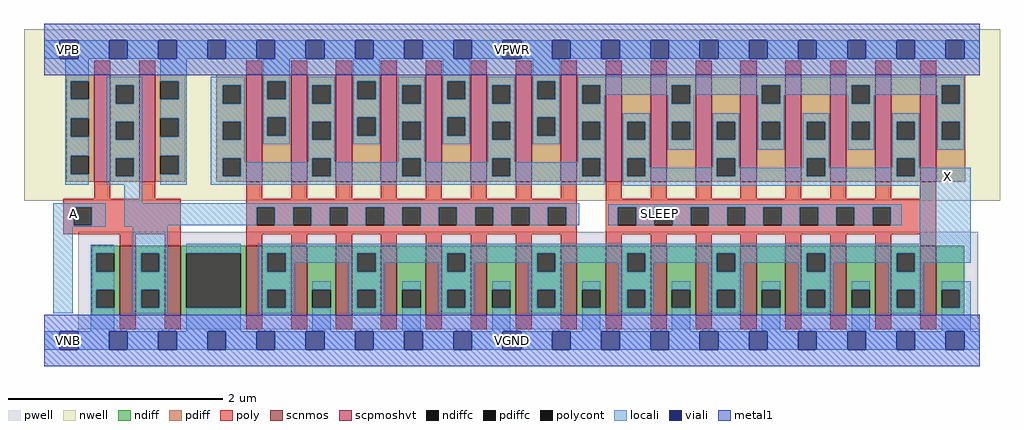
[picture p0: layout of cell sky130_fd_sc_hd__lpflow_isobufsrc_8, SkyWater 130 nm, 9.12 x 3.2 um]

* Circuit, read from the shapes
.subckt sky130_fd_sc_hd__lpflow_isobufsrc_8 A SLEEP VGND VNB VPB VPWR X
XM1 n1 A VGND VNB sky130_fd_pr__nfet_01v8 w=0.65 l=0.15 m=2
XM2 X n1 VGND VNB sky130_fd_pr__nfet_01v8 w=0.65 l=0.15 m=8
XM3 X SLEEP VGND VNB sky130_fd_pr__nfet_01v8 w=0.65 l=0.15 m=8
XM4 n1 A VPWR VPB sky130_fd_pr__pfet_01v8_hvt w=1 l=0.15 m=2
XM5 VPWR n1 n2 VPB sky130_fd_pr__pfet_01v8_hvt w=1 l=0.15 m=8
XM6 X SLEEP n2 VPB sky130_fd_pr__pfet_01v8_hvt w=1 l=0.15 m=8
.ends

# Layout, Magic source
magic
tech sky130B
magscale 1 2
<< nwell >>
rect -38 261 1786 582
<< pwell >>
rect 63 21 1745 203
rect 29 -17 63 17
<< scnmos >>
rect 141 47 171 177
rect 225 47 255 177
rect 377 47 407 177
rect 461 47 491 177
rect 545 47 575 177
rect 629 47 659 177
rect 713 47 743 177
rect 797 47 827 177
rect 881 47 911 177
rect 965 47 995 177
rect 1049 47 1079 177
rect 1133 47 1163 177
rect 1217 47 1247 177
rect 1301 47 1331 177
rect 1385 47 1415 177
rect 1469 47 1499 177
rect 1553 47 1583 177
rect 1637 47 1667 177
<< scpmoshvt >>
rect 93 297 123 497
rect 177 297 207 497
rect 377 297 407 497
rect 461 297 491 497
rect 545 297 575 497
rect 629 297 659 497
rect 713 297 743 497
rect 797 297 827 497
rect 881 297 911 497
rect 965 297 995 497
rect 1049 297 1079 497
rect 1133 297 1163 497
rect 1217 297 1247 497
rect 1301 297 1331 497
rect 1385 297 1415 497
rect 1469 297 1499 497
rect 1553 297 1583 497
rect 1637 297 1667 497
<< ndiff >>
rect 89 163 141 177
rect 89 129 97 163
rect 131 129 141 163
rect 89 95 141 129
rect 89 61 97 95
rect 131 61 141 95
rect 89 47 141 61
rect 171 163 225 177
rect 171 129 181 163
rect 215 129 225 163
rect 171 95 225 129
rect 171 61 181 95
rect 215 61 225 95
rect 171 47 225 61
rect 255 163 377 177
rect 255 61 265 163
rect 367 61 377 163
rect 255 47 377 61
rect 407 163 461 177
rect 407 129 417 163
rect 451 129 461 163
rect 407 95 461 129
rect 407 61 417 95
rect 451 61 461 95
rect 407 47 461 61
rect 491 95 545 177
rect 491 61 501 95
rect 535 61 545 95
rect 491 47 545 61
rect 575 163 629 177
rect 575 129 585 163
rect 619 129 629 163
rect 575 95 629 129
rect 575 61 585 95
rect 619 61 629 95
rect 575 47 629 61
rect 659 95 713 177
rect 659 61 669 95
rect 703 61 713 95
rect 659 47 713 61
rect 743 163 797 177
rect 743 129 753 163
rect 787 129 797 163
rect 743 95 797 129
rect 743 61 753 95
rect 787 61 797 95
rect 743 47 797 61
rect 827 95 881 177
rect 827 61 837 95
rect 871 61 881 95
rect 827 47 881 61
rect 911 163 965 177
rect 911 129 921 163
rect 955 129 965 163
rect 911 95 965 129
rect 911 61 921 95
rect 955 61 965 95
rect 911 47 965 61
rect 995 95 1049 177
rect 995 61 1005 95
rect 1039 61 1049 95
rect 995 47 1049 61
rect 1079 163 1133 177
rect 1079 129 1089 163
rect 1123 129 1133 163
rect 1079 95 1133 129
rect 1079 61 1089 95
rect 1123 61 1133 95
rect 1079 47 1133 61
rect 1163 95 1217 177
rect 1163 61 1173 95
rect 1207 61 1217 95
rect 1163 47 1217 61
rect 1247 163 1301 177
rect 1247 129 1257 163
rect 1291 129 1301 163
rect 1247 95 1301 129
rect 1247 61 1257 95
rect 1291 61 1301 95
rect 1247 47 1301 61
rect 1331 95 1385 177
rect 1331 61 1341 95
rect 1375 61 1385 95
rect 1331 47 1385 61
rect 1415 163 1469 177
rect 1415 129 1425 163
rect 1459 129 1469 163
rect 1415 95 1469 129
rect 1415 61 1425 95
rect 1459 61 1469 95
rect 1415 47 1469 61
rect 1499 95 1553 177
rect 1499 61 1509 95
rect 1543 61 1553 95
rect 1499 47 1553 61
rect 1583 163 1637 177
rect 1583 129 1593 163
rect 1627 129 1637 163
rect 1583 95 1637 129
rect 1583 61 1593 95
rect 1627 61 1637 95
rect 1583 47 1637 61
rect 1667 95 1719 177
rect 1667 61 1677 95
rect 1711 61 1719 95
rect 1667 47 1719 61
<< pdiff >>
rect 41 485 93 497
rect 41 451 49 485
rect 83 451 93 485
rect 41 415 93 451
rect 41 381 49 415
rect 83 381 93 415
rect 41 345 93 381
rect 41 311 49 345
rect 83 311 93 345
rect 41 297 93 311
rect 123 477 177 497
rect 123 443 133 477
rect 167 443 177 477
rect 123 409 177 443
rect 123 375 133 409
rect 167 375 177 409
rect 123 341 177 375
rect 123 307 133 341
rect 167 307 177 341
rect 123 297 177 307
rect 207 485 263 497
rect 207 451 217 485
rect 251 451 263 485
rect 207 415 263 451
rect 207 381 217 415
rect 251 381 263 415
rect 207 345 263 381
rect 207 311 217 345
rect 251 311 263 345
rect 207 297 263 311
rect 321 477 377 497
rect 321 443 333 477
rect 367 443 377 477
rect 321 409 377 443
rect 321 375 333 409
rect 367 375 377 409
rect 321 341 377 375
rect 321 307 333 341
rect 367 307 377 341
rect 321 297 377 307
rect 407 485 461 497
rect 407 451 417 485
rect 451 451 461 485
rect 407 417 461 451
rect 407 383 417 417
rect 451 383 461 417
rect 407 297 461 383
rect 491 477 545 497
rect 491 443 501 477
rect 535 443 545 477
rect 491 409 545 443
rect 491 375 501 409
rect 535 375 545 409
rect 491 341 545 375
rect 491 307 501 341
rect 535 307 545 341
rect 491 297 545 307
rect 575 485 629 497
rect 575 451 585 485
rect 619 451 629 485
rect 575 417 629 451
rect 575 383 585 417
rect 619 383 629 417
rect 575 297 629 383
rect 659 477 713 497
rect 659 443 669 477
rect 703 443 713 477
rect 659 409 713 443
rect 659 375 669 409
rect 703 375 713 409
rect 659 341 713 375
rect 659 307 669 341
rect 703 307 713 341
rect 659 297 713 307
rect 743 485 797 497
rect 743 451 753 485
rect 787 451 797 485
rect 743 417 797 451
rect 743 383 753 417
rect 787 383 797 417
rect 743 297 797 383
rect 827 477 881 497
rect 827 443 837 477
rect 871 443 881 477
rect 827 409 881 443
rect 827 375 837 409
rect 871 375 881 409
rect 827 341 881 375
rect 827 307 837 341
rect 871 307 881 341
rect 827 297 881 307
rect 911 485 965 497
rect 911 451 921 485
rect 955 451 965 485
rect 911 417 965 451
rect 911 383 921 417
rect 955 383 965 417
rect 911 297 965 383
rect 995 477 1049 497
rect 995 443 1005 477
rect 1039 443 1049 477
rect 995 409 1049 443
rect 995 375 1005 409
rect 1039 375 1049 409
rect 995 341 1049 375
rect 995 307 1005 341
rect 1039 307 1049 341
rect 995 297 1049 307
rect 1079 409 1133 497
rect 1079 375 1089 409
rect 1123 375 1133 409
rect 1079 341 1133 375
rect 1079 307 1089 341
rect 1123 307 1133 341
rect 1079 297 1133 307
rect 1163 477 1217 497
rect 1163 443 1173 477
rect 1207 443 1217 477
rect 1163 409 1217 443
rect 1163 375 1173 409
rect 1207 375 1217 409
rect 1163 297 1217 375
rect 1247 409 1301 497
rect 1247 375 1257 409
rect 1291 375 1301 409
rect 1247 341 1301 375
rect 1247 307 1257 341
rect 1291 307 1301 341
rect 1247 297 1301 307
rect 1331 477 1385 497
rect 1331 443 1341 477
rect 1375 443 1385 477
rect 1331 409 1385 443
rect 1331 375 1341 409
rect 1375 375 1385 409
rect 1331 297 1385 375
rect 1415 409 1469 497
rect 1415 375 1425 409
rect 1459 375 1469 409
rect 1415 341 1469 375
rect 1415 307 1425 341
rect 1459 307 1469 341
rect 1415 297 1469 307
rect 1499 477 1553 497
rect 1499 443 1509 477
rect 1543 443 1553 477
rect 1499 409 1553 443
rect 1499 375 1509 409
rect 1543 375 1553 409
rect 1499 297 1553 375
rect 1583 409 1637 497
rect 1583 375 1593 409
rect 1627 375 1637 409
rect 1583 341 1637 375
rect 1583 307 1593 341
rect 1627 307 1637 341
rect 1583 297 1637 307
rect 1667 477 1721 497
rect 1667 443 1677 477
rect 1711 443 1721 477
rect 1667 409 1721 443
rect 1667 375 1677 409
rect 1711 375 1721 409
rect 1667 297 1721 375
<< ndiffc >>
rect 97 129 131 163
rect 97 61 131 95
rect 181 129 215 163
rect 181 61 215 95
rect 265 61 367 163
rect 417 129 451 163
rect 417 61 451 95
rect 501 61 535 95
rect 585 129 619 163
rect 585 61 619 95
rect 669 61 703 95
rect 753 129 787 163
rect 753 61 787 95
rect 837 61 871 95
rect 921 129 955 163
rect 921 61 955 95
rect 1005 61 1039 95
rect 1089 129 1123 163
rect 1089 61 1123 95
rect 1173 61 1207 95
rect 1257 129 1291 163
rect 1257 61 1291 95
rect 1341 61 1375 95
rect 1425 129 1459 163
rect 1425 61 1459 95
rect 1509 61 1543 95
rect 1593 129 1627 163
rect 1593 61 1627 95
rect 1677 61 1711 95
<< pdiffc >>
rect 49 451 83 485
rect 49 381 83 415
rect 49 311 83 345
rect 133 443 167 477
rect 133 375 167 409
rect 133 307 167 341
rect 217 451 251 485
rect 217 381 251 415
rect 217 311 251 345
rect 333 443 367 477
rect 333 375 367 409
rect 333 307 367 341
rect 417 451 451 485
rect 417 383 451 417
rect 501 443 535 477
rect 501 375 535 409
rect 501 307 535 341
rect 585 451 619 485
rect 585 383 619 417
rect 669 443 703 477
rect 669 375 703 409
rect 669 307 703 341
rect 753 451 787 485
rect 753 383 787 417
rect 837 443 871 477
rect 837 375 871 409
rect 837 307 871 341
rect 921 451 955 485
rect 921 383 955 417
rect 1005 443 1039 477
rect 1005 375 1039 409
rect 1005 307 1039 341
rect 1089 375 1123 409
rect 1089 307 1123 341
rect 1173 443 1207 477
rect 1173 375 1207 409
rect 1257 375 1291 409
rect 1257 307 1291 341
rect 1341 443 1375 477
rect 1341 375 1375 409
rect 1425 375 1459 409
rect 1425 307 1459 341
rect 1509 443 1543 477
rect 1509 375 1543 409
rect 1593 375 1627 409
rect 1593 307 1627 341
rect 1677 443 1711 477
rect 1677 375 1711 409
<< poly >>
rect 93 497 123 523
rect 177 497 207 523
rect 377 497 407 523
rect 461 497 491 523
rect 545 497 575 523
rect 629 497 659 523
rect 713 497 743 523
rect 797 497 827 523
rect 881 497 911 523
rect 965 497 995 523
rect 1049 497 1079 523
rect 1133 497 1163 523
rect 1217 497 1247 523
rect 1301 497 1331 523
rect 1385 497 1415 523
rect 1469 497 1499 523
rect 1553 497 1583 523
rect 1637 497 1667 523
rect 93 265 123 297
rect 177 265 207 297
rect 377 265 407 297
rect 461 265 491 297
rect 545 265 575 297
rect 629 265 659 297
rect 713 265 743 297
rect 797 265 827 297
rect 881 265 911 297
rect 965 265 995 297
rect 35 249 255 265
rect 35 215 55 249
rect 89 215 255 249
rect 35 199 255 215
rect 141 177 171 199
rect 225 177 255 199
rect 377 249 995 265
rect 377 215 397 249
rect 431 215 465 249
rect 499 215 533 249
rect 567 215 601 249
rect 635 215 669 249
rect 703 215 737 249
rect 771 215 805 249
rect 839 215 873 249
rect 907 215 941 249
rect 975 215 995 249
rect 377 199 995 215
rect 377 177 407 199
rect 461 177 491 199
rect 545 177 575 199
rect 629 177 659 199
rect 713 177 743 199
rect 797 177 827 199
rect 881 177 911 199
rect 965 177 995 199
rect 1049 265 1079 297
rect 1133 265 1163 297
rect 1217 265 1247 297
rect 1301 265 1331 297
rect 1385 265 1415 297
rect 1469 265 1499 297
rect 1553 265 1583 297
rect 1637 265 1667 297
rect 1049 249 1667 265
rect 1049 215 1072 249
rect 1106 215 1140 249
rect 1174 215 1208 249
rect 1242 215 1276 249
rect 1310 215 1344 249
rect 1378 215 1412 249
rect 1446 215 1480 249
rect 1514 215 1548 249
rect 1582 215 1667 249
rect 1049 199 1667 215
rect 1049 177 1079 199
rect 1133 177 1163 199
rect 1217 177 1247 199
rect 1301 177 1331 199
rect 1385 177 1415 199
rect 1469 177 1499 199
rect 1553 177 1583 199
rect 1637 177 1667 199
rect 141 21 171 47
rect 225 21 255 47
rect 377 21 407 47
rect 461 21 491 47
rect 545 21 575 47
rect 629 21 659 47
rect 713 21 743 47
rect 797 21 827 47
rect 881 21 911 47
rect 965 21 995 47
rect 1049 21 1079 47
rect 1133 21 1163 47
rect 1217 21 1247 47
rect 1301 21 1331 47
rect 1385 21 1415 47
rect 1469 21 1499 47
rect 1553 21 1583 47
rect 1637 21 1667 47
<< polycont >>
rect 55 215 89 249
rect 397 215 431 249
rect 465 215 499 249
rect 533 215 567 249
rect 601 215 635 249
rect 669 215 703 249
rect 737 215 771 249
rect 805 215 839 249
rect 873 215 907 249
rect 941 215 975 249
rect 1072 215 1106 249
rect 1140 215 1174 249
rect 1208 215 1242 249
rect 1276 215 1310 249
rect 1344 215 1378 249
rect 1412 215 1446 249
rect 1480 215 1514 249
rect 1548 215 1582 249
<< locali >>
rect 0 527 29 561
rect 63 527 121 561
rect 155 527 213 561
rect 247 527 305 561
rect 339 527 397 561
rect 431 527 489 561
rect 523 527 581 561
rect 615 527 673 561
rect 707 527 765 561
rect 799 527 857 561
rect 891 527 949 561
rect 983 527 1041 561
rect 1075 527 1133 561
rect 1167 527 1225 561
rect 1259 527 1317 561
rect 1351 527 1409 561
rect 1443 527 1501 561
rect 1535 527 1593 561
rect 1627 527 1685 561
rect 1719 527 1748 561
rect 39 485 83 527
rect 39 451 49 485
rect 39 415 83 451
rect 39 381 49 415
rect 39 345 83 381
rect 39 311 49 345
rect 39 291 83 311
rect 117 477 183 493
rect 117 443 133 477
rect 167 443 183 477
rect 117 409 183 443
rect 117 375 133 409
rect 167 375 183 409
rect 117 341 183 375
rect 117 307 133 341
rect 167 307 183 341
rect 117 291 183 307
rect 217 485 266 527
rect 251 451 266 485
rect 217 415 266 451
rect 251 381 266 415
rect 217 345 266 381
rect 251 311 266 345
rect 217 291 266 311
rect 311 477 375 493
rect 311 443 333 477
rect 367 443 375 477
rect 311 409 375 443
rect 311 375 333 409
rect 367 375 375 409
rect 311 341 375 375
rect 409 485 459 527
rect 409 451 417 485
rect 451 451 459 485
rect 409 417 459 451
rect 409 383 417 417
rect 451 383 459 417
rect 409 367 459 383
rect 493 477 543 493
rect 493 443 501 477
rect 535 443 543 477
rect 493 409 543 443
rect 493 375 501 409
rect 535 375 543 409
rect 311 307 333 341
rect 367 333 375 341
rect 493 341 543 375
rect 577 485 627 527
rect 577 451 585 485
rect 619 451 627 485
rect 577 417 627 451
rect 577 383 585 417
rect 619 383 627 417
rect 577 367 627 383
rect 661 477 711 493
rect 661 443 669 477
rect 703 443 711 477
rect 661 409 711 443
rect 661 375 669 409
rect 703 375 711 409
rect 493 333 501 341
rect 367 307 501 333
rect 535 333 543 341
rect 661 341 711 375
rect 745 485 795 527
rect 745 451 753 485
rect 787 451 795 485
rect 745 417 795 451
rect 745 383 753 417
rect 787 383 795 417
rect 745 367 795 383
rect 829 477 879 493
rect 829 443 837 477
rect 871 443 879 477
rect 829 409 879 443
rect 829 375 837 409
rect 871 375 879 409
rect 661 333 669 341
rect 535 307 669 333
rect 703 333 711 341
rect 829 341 879 375
rect 913 485 963 527
rect 913 451 921 485
rect 955 451 963 485
rect 913 417 963 451
rect 913 383 921 417
rect 955 383 963 417
rect 913 367 963 383
rect 997 477 1719 493
rect 997 443 1005 477
rect 1039 459 1173 477
rect 1039 443 1047 459
rect 997 409 1047 443
rect 1165 443 1173 459
rect 1207 459 1341 477
rect 1207 443 1215 459
rect 997 375 1005 409
rect 1039 375 1047 409
rect 829 333 837 341
rect 703 307 837 333
rect 871 333 879 341
rect 997 341 1047 375
rect 997 333 1005 341
rect 871 307 1005 333
rect 1039 307 1047 341
rect 311 291 1047 307
rect 1081 409 1131 425
rect 1081 375 1089 409
rect 1123 375 1131 409
rect 1081 341 1131 375
rect 1165 409 1215 443
rect 1333 443 1341 459
rect 1375 459 1509 477
rect 1375 443 1383 459
rect 1165 375 1173 409
rect 1207 375 1215 409
rect 1165 357 1215 375
rect 1249 409 1299 425
rect 1249 375 1257 409
rect 1291 375 1299 409
rect 1081 307 1089 341
rect 1123 323 1131 341
rect 1249 341 1299 375
rect 1333 409 1383 443
rect 1501 443 1509 459
rect 1543 459 1677 477
rect 1543 443 1551 459
rect 1333 375 1341 409
rect 1375 375 1383 409
rect 1333 357 1383 375
rect 1417 409 1467 425
rect 1417 375 1425 409
rect 1459 375 1467 409
rect 1249 323 1257 341
rect 1123 307 1257 323
rect 1291 323 1299 341
rect 1417 341 1467 375
rect 1501 409 1551 443
rect 1669 443 1677 459
rect 1711 443 1719 477
rect 1501 375 1509 409
rect 1543 375 1551 409
rect 1501 357 1551 375
rect 1585 409 1635 425
rect 1585 375 1593 409
rect 1627 375 1635 409
rect 1417 323 1425 341
rect 1291 307 1425 323
rect 1459 323 1467 341
rect 1585 341 1635 375
rect 1669 409 1719 443
rect 1669 375 1677 409
rect 1711 375 1719 409
rect 1669 357 1719 375
rect 1585 323 1593 341
rect 1459 307 1593 323
rect 1627 323 1635 341
rect 1627 307 1731 323
rect 149 257 183 291
rect 1081 289 1731 307
rect 17 249 115 257
rect 17 215 55 249
rect 89 215 115 249
rect 17 213 115 215
rect 149 249 1000 257
rect 149 215 397 249
rect 431 215 465 249
rect 499 215 533 249
rect 567 215 601 249
rect 635 215 669 249
rect 703 215 737 249
rect 771 215 805 249
rect 839 215 873 249
rect 907 215 941 249
rect 975 215 1000 249
rect 1054 249 1602 255
rect 1054 215 1072 249
rect 1106 215 1140 249
rect 1174 215 1208 249
rect 1242 215 1276 249
rect 1310 215 1344 249
rect 1378 215 1412 249
rect 1446 215 1480 249
rect 1514 215 1548 249
rect 1582 215 1602 249
rect 149 213 231 215
rect 17 51 53 213
rect 87 163 131 179
rect 87 129 97 163
rect 87 95 131 129
rect 87 61 97 95
rect 87 17 131 61
rect 165 163 231 213
rect 1636 181 1731 289
rect 165 129 181 163
rect 215 129 231 163
rect 165 95 231 129
rect 165 61 181 95
rect 215 61 231 95
rect 165 51 231 61
rect 265 163 367 181
rect 265 17 367 61
rect 401 163 1731 181
rect 401 129 417 163
rect 451 145 585 163
rect 451 129 467 145
rect 401 95 467 129
rect 569 129 585 145
rect 619 145 753 163
rect 619 129 635 145
rect 401 61 417 95
rect 451 61 467 95
rect 401 51 467 61
rect 501 95 535 111
rect 501 17 535 61
rect 569 95 635 129
rect 737 129 753 145
rect 787 145 921 163
rect 787 129 803 145
rect 569 61 585 95
rect 619 61 635 95
rect 569 51 635 61
rect 669 95 703 111
rect 669 17 703 61
rect 737 95 803 129
rect 905 129 921 145
rect 955 145 1089 163
rect 955 129 971 145
rect 737 61 753 95
rect 787 61 803 95
rect 737 51 803 61
rect 837 95 871 111
rect 837 17 871 61
rect 905 95 971 129
rect 1073 129 1089 145
rect 1123 145 1257 163
rect 1123 129 1139 145
rect 905 61 921 95
rect 955 61 971 95
rect 905 51 971 61
rect 1005 95 1039 111
rect 1005 17 1039 61
rect 1073 95 1139 129
rect 1241 129 1257 145
rect 1291 145 1425 163
rect 1291 129 1307 145
rect 1073 61 1089 95
rect 1123 61 1139 95
rect 1073 51 1139 61
rect 1173 95 1207 111
rect 1173 17 1207 61
rect 1241 95 1307 129
rect 1409 129 1425 145
rect 1459 145 1593 163
rect 1459 129 1475 145
rect 1241 61 1257 95
rect 1291 61 1307 95
rect 1241 51 1307 61
rect 1341 95 1375 111
rect 1341 17 1375 61
rect 1409 95 1475 129
rect 1577 129 1593 145
rect 1627 145 1731 163
rect 1627 129 1643 145
rect 1409 61 1425 95
rect 1459 61 1475 95
rect 1409 51 1475 61
rect 1509 95 1543 111
rect 1509 17 1543 61
rect 1577 95 1643 129
rect 1577 61 1593 95
rect 1627 61 1643 95
rect 1577 51 1643 61
rect 1677 95 1731 111
rect 1711 61 1731 95
rect 1677 17 1731 61
rect 0 -17 29 17
rect 63 -17 121 17
rect 155 -17 213 17
rect 247 -17 305 17
rect 339 -17 397 17
rect 431 -17 489 17
rect 523 -17 581 17
rect 615 -17 673 17
rect 707 -17 765 17
rect 799 -17 857 17
rect 891 -17 949 17
rect 983 -17 1041 17
rect 1075 -17 1133 17
rect 1167 -17 1225 17
rect 1259 -17 1317 17
rect 1351 -17 1409 17
rect 1443 -17 1501 17
rect 1535 -17 1593 17
rect 1627 -17 1685 17
rect 1719 -17 1748 17
<< viali >>
rect 29 527 63 561
rect 121 527 155 561
rect 213 527 247 561
rect 305 527 339 561
rect 397 527 431 561
rect 489 527 523 561
rect 581 527 615 561
rect 673 527 707 561
rect 765 527 799 561
rect 857 527 891 561
rect 949 527 983 561
rect 1041 527 1075 561
rect 1133 527 1167 561
rect 1225 527 1259 561
rect 1317 527 1351 561
rect 1409 527 1443 561
rect 1501 527 1535 561
rect 1593 527 1627 561
rect 1685 527 1719 561
rect 29 -17 63 17
rect 121 -17 155 17
rect 213 -17 247 17
rect 305 -17 339 17
rect 397 -17 431 17
rect 489 -17 523 17
rect 581 -17 615 17
rect 673 -17 707 17
rect 765 -17 799 17
rect 857 -17 891 17
rect 949 -17 983 17
rect 1041 -17 1075 17
rect 1133 -17 1167 17
rect 1225 -17 1259 17
rect 1317 -17 1351 17
rect 1409 -17 1443 17
rect 1501 -17 1535 17
rect 1593 -17 1627 17
rect 1685 -17 1719 17
<< metal1 >>
rect 0 561 1748 592
rect 0 527 29 561
rect 63 527 121 561
rect 155 527 213 561
rect 247 527 305 561
rect 339 527 397 561
rect 431 527 489 561
rect 523 527 581 561
rect 615 527 673 561
rect 707 527 765 561
rect 799 527 857 561
rect 891 527 949 561
rect 983 527 1041 561
rect 1075 527 1133 561
rect 1167 527 1225 561
rect 1259 527 1317 561
rect 1351 527 1409 561
rect 1443 527 1501 561
rect 1535 527 1593 561
rect 1627 527 1685 561
rect 1719 527 1748 561
rect 0 496 1748 527
rect 0 17 1748 48
rect 0 -17 29 17
rect 63 -17 121 17
rect 155 -17 213 17
rect 247 -17 305 17
rect 339 -17 397 17
rect 431 -17 489 17
rect 523 -17 581 17
rect 615 -17 673 17
rect 707 -17 765 17
rect 799 -17 857 17
rect 891 -17 949 17
rect 983 -17 1041 17
rect 1075 -17 1133 17
rect 1167 -17 1225 17
rect 1259 -17 1317 17
rect 1351 -17 1409 17
rect 1443 -17 1501 17
rect 1535 -17 1593 17
rect 1627 -17 1685 17
rect 1719 -17 1748 17
rect 0 -48 1748 -17
<< labels >>
flabel locali s 37 221 71 255 0 FreeSans 400 0 0 0 A
port 1 nsew signal input
flabel locali s 1670 289 1704 323 0 FreeSans 400 0 0 0 X
port 7 nsew signal output
flabel locali s 1133 221 1167 255 0 FreeSans 400 0 0 0 SLEEP
port 2 nsew signal input
flabel nwell s 29 527 63 561 0 FreeSans 200 0 0 0 VPB
port 5 nsew power bidirectional
flabel pwell s 29 -17 63 17 0 FreeSans 200 0 0 0 VNB
port 4 nsew ground bidirectional
flabel metal1 s 29 -17 63 17 0 FreeSans 200 0 0 0 VGND
port 3 nsew ground bidirectional abutment
flabel metal1 s 29 527 63 561 0 FreeSans 200 0 0 0 VPWR
port 6 nsew power bidirectional abutment
rlabel comment s 0 0 0 0 4 lpflow_isobufsrc_8
rlabel metal1 s 0 -48 1748 48 1 VGND
port 3 nsew ground bidirectional abutment
rlabel metal1 s 0 496 1748 592 1 VPWR
port 6 nsew power bidirectional abutment
<< properties >>
string FIXED_BBOX 0 0 1748 544
string GDS_END 2398866
string GDS_FILE $PDKPATH/libs.ref/sky130_fd_sc_hd/gds/sky130_fd_sc_hd.gds
string GDS_START 2385564
string LEFclass CORE
string LEFsite unithd
string LEFsymmetry X Y R90
string path 0.000 0.000 43.700 0.000 
<< end >>
